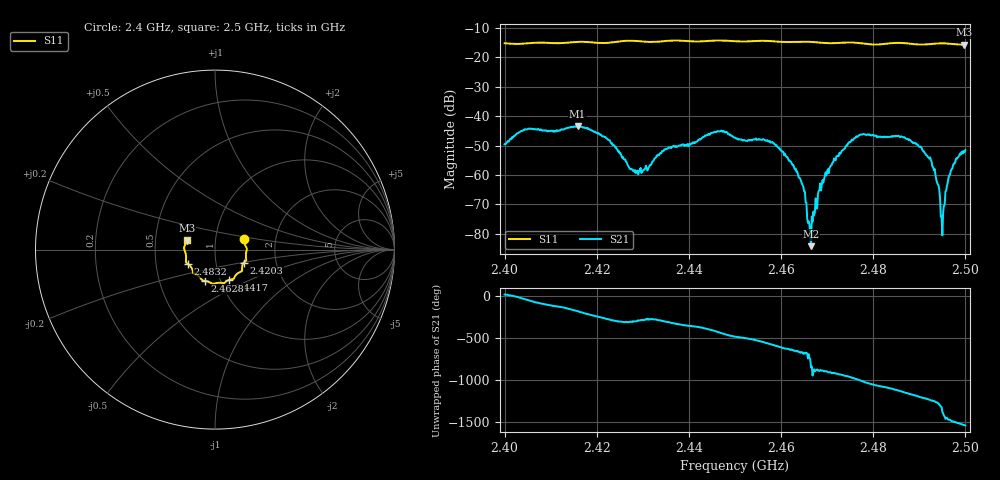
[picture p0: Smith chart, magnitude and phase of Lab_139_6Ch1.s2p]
# Hz S RI R 50
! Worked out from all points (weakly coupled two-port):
!   601 points, 2.4 GHz to 2.5 GHz, reference 50 ohm
!   highest |S21| = -43.44 dB at 2.4158 GHz (marker M1); lowest = -84.2 dB at 2.4665 GHz (marker M2)
!   lowest |S11| = -15.7 dB at 2.4997 GHz (marker M3), VSWR 1.39, Z = 36.3 + j3.69 ohm
!   |S11| at or under -10 dB: start of sweep to end of sweep
!   S12 and S22 are empty: the file has one direction only
!   S11 on the Smith chart (normalised r, x): 2.4 GHz: 1.38, +0.17; 2.4203 GHz: 1.36, -0.21; 2.4417 GHz: 1.09, -0.38; 2.4628 GHz: 0.84, -0.30; 2.4832 GHz: 0.73, -0.12; 2.5 GHz: 0.73, +0.08
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2.4e9  0.1628 0.0599  0.00307 0.00132  0 0  0 0
2.415833e9  0.1741 -0.0564  -0.00671 -0.000505  0 0  0 0
2.416667e9  0.1737 -0.0595  -0.00648 0.00104  0 0  0 0
2.420333e9  0.1597 -0.0739  -0.0025 0.00457  0 0  0 0
2.4285e9  0.1452 -0.1225  0.000463 0.000973  0 0  0 0
2.433333e9  0.1129 -0.1456  0.000453 0.00219  0 0  0 0
2.441667e9  0.0758 -0.1695  0.0037 -0.00011  0 0  0 0
2.45e9  0.0327 -0.1849  -0.0021 -0.0038  0 0  0 0
2.458e9  -0.0204 -0.1869  -0.00303 0.00201  0 0  0 0
2.462833e9  -0.0567 -0.1738  0.000411 0.00128  0 0  0 0
2.464667e9  -0.0674 -0.1716  0.00039 0.00055  0 0  0 0
2.4665e9  -0.074 -0.1674  -3.42e-05 -5.16e-05  0 0  0 0
2.466667e9  -0.0745 -0.167  -7.47e-05 -0.000183  0 0  0 0
2.4695e9  -0.087 -0.1517  -0.000975 -0.000188  0 0  0 0
2.4745e9  -0.1189 -0.1337  -0.00223 0.00263  0 0  0 0
2.483167e9  -0.152 -0.0795  0.00437 -0.000679  0 0  0 0
2.483333e9  -0.1531 -0.0787  0.0044 -0.000719  0 0  0 0
2.492167e9  -0.1671 -0.0108  -0.00163 -0.00099  0 0  0 0
2.495e9  -0.1724 0.00995  3.69e-05 8.69e-05  0 0  0 0
2.496833e9  -0.1684 0.0219  0.00095 -0.000693  0 0  0 0
2.499667e9  -0.1568 0.0495  -6.02e-05 -0.00256  0 0  0 0
2.5e9  -0.156 0.0535  -0.000264 -0.00263  0 0  0 0
